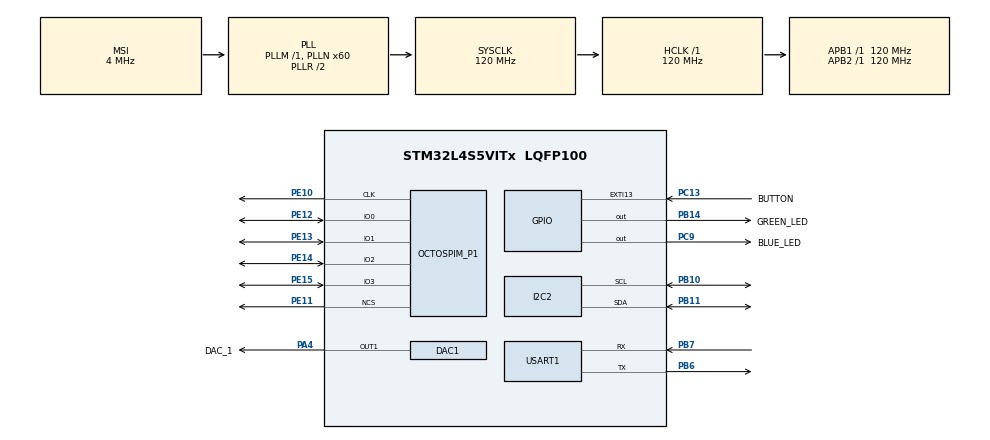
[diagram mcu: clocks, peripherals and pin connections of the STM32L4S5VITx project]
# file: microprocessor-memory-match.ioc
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DAC1.DAC_HighFrequency-DAC_OUT1=DAC_HIGH_FREQUENCY_INTERFACE_MODE_DISABLE
DAC1.DAC_Trigger-DAC_OUT1=DAC_TRIGGER_T6_TRGO
Dma.DAC1_CH1.0.Direction=DMA_MEMORY_TO_PERIPH
Dma.DAC1_CH1.0.EventEnable=DISABLE
Dma.DAC1_CH1.0.Instance=DMA1_Channel1
Dma.DAC1_CH1.0.MemDataAlignment=DMA_MDATAALIGN_HALFWORD
Dma.DAC1_CH1.0.MemInc=DMA_MINC_ENABLE
Dma.DAC1_CH1.0.Mode=DMA_NORMAL
Dma.DAC1_CH1.0.PeriphDataAlignment=DMA_PDATAALIGN_HALFWORD
Dma.DAC1_CH1.0.PeriphInc=DMA_PINC_DISABLE
Dma.DAC1_CH1.0.Polarity=HAL_DMAMUX_REQUEST_GEN_RISING
Dma.DAC1_CH1.0.Priority=DMA_PRIORITY_LOW
Dma.DAC1_CH1.0.RequestNumber=1
Dma.DAC1_CH1.0.SignalID=NONE
Dma.DAC1_CH1.0.SyncEnable=DISABLE
Dma.DAC1_CH1.0.SyncPolarity=HAL_DMAMUX_SYNC_NO_EVENT
Dma.DAC1_CH1.0.SyncRequestNumber=1
Dma.DAC1_CH1.0.SyncSignalID=NONE
Dma.Request0=DAC1_CH1
I2C2.Timing=0x307075B1
Mcu.Family=STM32L4
Mcu.Name=STM32L4S5VITx
Mcu.Package=LQFP100
NVIC.DMA1_Channel1_IRQn=true\:0\:0\:false\:false\:true\:false\:true\:true
NVIC.EXTI15_10_IRQn=true\:0\:0\:false\:false\:true\:true\:true\:true
NVIC.PriorityGroup=NVIC_PRIORITYGROUP_4
NVIC.TIM2_IRQn=true\:0\:0\:false\:false\:true\:true\:true\:true
OCTOSPI1.MemoryType=HAL_OSPI_MEMTYPE_MACRONIX
PA4.GPIO_Label=DAC_1
PA4.Signal=COMP_DAC11_group
PB10.Mode=I2C
PB10.Signal=I2C2_SCL
PB11.Mode=I2C
PB11.Signal=I2C2_SDA
PB14.GPIO_Label=GREEN_LED
PB14.Signal=GPIO_Output
PB6.Mode=Asynchronous
PB6.Signal=USART1_TX
PB7.Mode=Asynchronous
PB7.Signal=USART1_RX
PC13.GPIO_Label=BUTTON
PC13.Signal=GPXTI13
PC9.GPIO_Label=BLUE_LED
PC9.Signal=GPIO_Output
PE10.Mode=O1_P1_CLK
PE10.Signal=OCTOSPIM_P1_CLK
PE11.Mode=OCTOSPI1_Port1_NCS
PE11.Signal=OCTOSPIM_P1_NCS
PE12.Mode=OCTOSPI1_IOL_Port1L
PE12.Signal=OCTOSPIM_P1_IO0
PE13.Mode=OCTOSPI1_IOL_Port1L
PE13.Signal=OCTOSPIM_P1_IO1
PE14.Mode=OCTOSPI1_IOL_Port1L
PE14.Signal=OCTOSPIM_P1_IO2
PE15.Mode=OCTOSPI1_IOL_Port1L
PE15.Signal=OCTOSPIM_P1_IO3
ProjectManager.HeapSize=0x200
ProjectManager.StackSize=0x400
ProjectManager.TargetToolchain=STM32CubeIDE
RCC.ADCFreq_Value=48000000
RCC.AHBFreq_Value=120000000
RCC.APB1Freq_Value=120000000
RCC.APB1TimFreq_Value=120000000
RCC.APB2Freq_Value=120000000
RCC.APB2TimFreq_Value=120000000
RCC.CortexFreq_Value=120000000
RCC.HCLKFreq_Value=120000000
RCC.HSE_VALUE=8000000
RCC.HSI48_VALUE=48000000
RCC.HSI_VALUE=16000000
RCC.LSE_VALUE=32768
RCC.MSI_VALUE=4000000
RCC.PLLN=60
RCC.PLLSAI1N=24
RCC.SYSCLKFreq_VALUE=120000000
RCC.SYSCLKSource=RCC_SYSCLKSOURCE_PLLCLK
RCC.USBFreq_Value=48000000
RCC.VCOOutputFreq_Value=240000000
SH.COMP_DAC11_group.0=DAC1_OUT1,DAC_OUT1
TIM2.Period=10000
TIM2.Prescaler=374
TIM6.Period=7500 - 1
TIM6.TIM_MasterOutputTrigger=TIM_TRGO_UPDATE
USART1.VirtualMode-Asynchronous=VM_ASYNC
VP_OCTOSPI1_VS_quad.Mode=quad_mode
VP_TIM2_VS_ClockSourceINT.Mode=Internal
VP_TIM6_VS_ClockSourceINT.Mode=Enable_Timer
board=B-L4S5I-IOT01A

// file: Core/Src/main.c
/* USER CODE BEGIN Header */
/**
  ******************************************************************************
  * @file           : main.c
  * @brief          : Main program body
  ******************************************************************************
  * @attention
  *
  * Copyright (c) 2023 STMicroelectronics.
  * All rights reserved.
  *
  * This software is licensed under terms that can be found in the LICENSE file
  * in the root directory of this software component.
  * If no LICENSE file comes with this software, it is provided AS-IS.
  *
  ******************************************************************************
  */
/* USER CODE END Header */
#include "config.h"
#include "main.h"

/* USER CODE BEGIN Includes */
#include <stdbool.h>
#include <string.h>
#include <stdio.h>

#include "stm32l4s5i_iot01_qspi.h"

#include "accelerow.h"
#include "sound.h"
// Voice lines
#ifndef COMPRESSED
#include "welcome.h"
#include "instructions.h"
#include "player_turn.h"
#include "win.h"
#include "loss.h"
#include "start.h"
#include "try_again.h"
#include "calibrating.h"
#else
#include "welcome_compressed.h"
#include "instructions_compressed.h"
#include "player_turn_compressed.h"
#include "win_compressed.h"
#include "loss_compressed.h"
#include "start_compressed.h"
#include "try_again_compressed.h"
#include "calibrating_compressed.h"
#endif
/* USER CODE END Includes */

/* USER CODE BEGIN PM */
#define HIGHSCORE_ADDRESS 0x00
#define NUMBER_OF_SCORES 10
#define STARTING_LEVEL 2
/* USER CODE END PM */

DAC_HandleTypeDef hdac1;
DMA_HandleTypeDef hdma_dac1_ch1;

I2C_HandleTypeDef hi2c2;

OSPI_HandleTypeDef hospi1;

TIM_HandleTypeDef htim2;
TIM_HandleTypeDef htim6;

UART_HandleTypeDef huart1;

/* USER CODE BEGIN PV */
bool button_pressed = false;
uint8_t difficulty_level = STARTING_LEVEL;
uint32_t last_press = 0;
/* USER CODE END PV */

void SystemClock_Config(void);
static void MX_GPIO_Init(void);
static void MX_DMA_Init(void);
static void MX_I2C2_Init(void);
static void MX_OCTOSPI1_Init(void);
static void MX_USART1_UART_Init(void);
static void MX_TIM2_Init(void);
static void MX_DAC1_Init(void);
static void MX_TIM6_Init(void);
/* USER CODE BEGIN PFP */
enum BoardPosition duringGame();
/* USER CODE END PFP */

/* USER CODE BEGIN 0 */
#ifdef DEMO_ACCELEROW
enum BoardPosition
{
  DOUBLE_UP,
  BOARD_UP,
  BOARD_CENTER,
  BOARD_DOWN,
  DOUBLE_DOWN
};

enum BoardPosition update_position(enum BoardPosition previous_position,
    enum Direction direction)
{
  if (previous_position == BOARD_DOWN && direction == ACCELEROW_DOWN) return BOARD_DOWN;
  if (previous_position == BOARD_DOWN && direction == ACCELEROW_UP) return BOARD_CENTER;
  if (previous_position == BOARD_CENTER && direction == ACCELEROW_DOWN) return BOARD_DOWN;
  if (previous_position == BOARD_CENTER && direction == ACCELEROW_UP) return BOARD_UP;
  if (previous_position == BOARD_UP && direction == ACCELEROW_DOWN) return BOARD_CENTER;
  if (previous_position == BOARD_UP && direction == ACCELEROW_UP) return BOARD_UP;
  // Should never happen
  return BOARD_CENTER;
}

void demo_accelerow()
{
  // Turn LEDs on to indicate initialization is occurring
  HAL_GPIO_WritePin(GREEN_LED_GPIO_Port, GREEN_LED_Pin, GPIO_PIN_SET);
  HAL_GPIO_WritePin(BLUE_LED_GPIO_Port, BLUE_LED_Pin, GPIO_PIN_RESET);

  accelerow_init(&htim2, &huart1, Error_Handler);
  accelerow_calibrate();
  enum Direction direction;
  enum BoardPosition position = BOARD_CENTER;

  // Done initialization and calibration
  HAL_GPIO_WritePin(GREEN_LED_GPIO_Port, GREEN_LED_Pin, GPIO_PIN_RESET);
  HAL_GPIO_WritePin(BLUE_LED_GPIO_Port, BLUE_LED_Pin, GPIO_PIN_SET);

  while (1)
  {
    direction = accelerow_wait_for_move();
    position = update_position(position, direction);
    HAL_GPIO_WritePin(GREEN_LED_GPIO_Port, GREEN_LED_Pin, position == BOARD_UP ? GPIO_PIN_SET : GPIO_PIN_RESET);
    // The blue LED lights up for GPIO_PIN_RESET
    HAL_GPIO_WritePin(BLUE_LED_GPIO_Port, BLUE_LED_Pin, position == BOARD_DOWN ? GPIO_PIN_RESET : GPIO_PIN_SET);
  }
}
#endif

#ifdef DEMO_SOUND
// Plays a scale
void demo_sound()
{
  sound_init(&hdac1, &htim6, 16000);

  float scale[] = {C6_FREQUENCY, D6_FREQUENCY, E6_FREQUENCY, F6_FREQUENCY, G6_FREQUENCY, A6_FREQUENCY, B6_FREQUENCY, C7_FREQUENCY};
  size_t scale_length = sizeof(scale) / sizeof(float);

  for (size_t i = 0; i < scale_length; i++)
  {
    play_pure_tone(scale[i], 0.3);
    wait_for_sound_to_finish();
  }

  play_recording(welcome_data, sizeof(welcome_data) / sizeof(welcome_data[0]));
  wait_for_sound_to_finish();
}
#endif

size_t min(size_t a, size_t b)
{
  return a < b ? a : b;
}

uint32_t seed = 427986U;

uint32_t random_uint()
{
  seed ^= seed << 13;
  seed ^= seed >> 17;
  seed ^= seed << 5;
  return seed;
}

uint8_t add_high_score(uint8_t score)
{
  uint8_t high_score_list[NUMBER_OF_SCORES] = { 0 };
  if(BSP_QSPI_Read(high_score_list, HIGHSCORE_ADDRESS, NUMBER_OF_SCORES * sizeof(uint8_t))!=QSPI_OK) Error_Handler();

  //insert score
  int i = 0;
  bool new_score_set = false;
  for (i = 0; i < NUMBER_OF_SCORES; i++)
  {
    if (score >= high_score_list[i])
    {
      for(int j = NUMBER_OF_SCORES - 1; j > i; j--)
      {
        high_score_list[j] = high_score_list[j-1];
      }
      high_score_list[i] = score;
      new_score_set = true;
      break;
    }
  }
  if (new_score_set)
  {
    if(BSP_QSPI_Erase_Block(HIGHSCORE_ADDRESS)!= QSPI_OK) Error_Handler();
    if(BSP_QSPI_Write(high_score_list, HIGHSCORE_ADDRESS, NUMBER_OF_SCORES * sizeof(uint8_t))!=QSPI_OK) Error_Handler();
  }
  return new_score_set ? i:NUMBER_OF_SCORES;
}

// Plays a random sequence of intervals, and fills in the sequence of directions in which the board
// should be moved to win.
void get_random_sequence(enum Direction directions[])
{
  float tones[] = {C6_FREQUENCY, D6_FREQUENCY, E6_FREQUENCY, F6_FREQUENCY, G6_FREQUENCY, A6_FREQUENCY, B6_FREQUENCY, C7_FREQUENCY};
  for (int i = 0; i < difficulty_level; i++)
  {
    // Pick a first tone from E6 to A6
    int first_tone_index = 2 + (random_uint() % 4);
    float first_tone = tones[first_tone_index];
    // Pick a random interval from -2, -1, 1, and 2
    int interval = (random_uint() % 4);
    if (interval < 2)
    {
      interval -= 2;
    }
    else
    {
      interval -= 1;
    }
    float second_tone = tones[first_tone_index + interval];
    // Play the interval
    play_pure_tone(first_tone, 1);
    wait_for_sound_to_finish();
    play_pure_tone(second_tone, 1);
    wait_for_sound_to_finish();
    // Record the correct direction
    if (interval > 0)
    {
      directions[i] = ACCELEROW_UP;
    }
    else
    {
      directions[i] = ACCELEROW_DOWN;
    }
    // Wait before playing next interval
    HAL_Delay(500);
  }
}

void play_correct_sound()
{
  play_pure_tone(B6_FREQUENCY, 0.1);
  wait_for_sound_to_finish();
  play_pure_tone(G6_FREQUENCY, 0.3);
  wait_for_sound_to_finish();
}

void play_wrong_sound()
{
  play_pure_tone(C6_FREQUENCY, 0.1);
  wait_for_sound_to_finish();
  HAL_Delay(100);
  play_pure_tone(C6_FREQUENCY, 0.3);
  wait_for_sound_to_finish();
}

/**
 * Basic print function
 */
void print_to_uart(UART_HandleTypeDef *huart, char buffer[])
{
  HAL_UART_Transmit(&huart1, (uint8_t*) buffer, strlen(buffer), 5000);
}

bool players_turn(enum Direction expected_directions[], enum Direction actual_directions[])
{
  print_to_uart(&huart1, "NOW MOVE! \r\n");
  bool made_a_mistake = false;
  for (int i = 0; i < difficulty_level; i++)
  {
    actual_directions[i] = accelerow_wait_for_move();
    if (actual_directions[i] == expected_directions[i])
    {
      play_correct_sound();
    }
    else
    {
      play_wrong_sound();
      made_a_mistake = true;
    }
  }
  return made_a_mistake;
}

// Inserts the given directions into the given string. The string must have space for at least len + 1 characters,
// including the null terminator.
void copy_sequence_into_str(enum Direction directions[], char *message, size_t len)
{
  for (int i = 0; i < len; i++)
  {
    message[i] = (directions[i] == ACCELEROW_UP) ? 'U' : 'D';
  }
  message[len] = '\0';
}

void print_diff(enum Direction expected[], enum Direction actual[], size_t len)
{
  char expected_sequence_msg[1024] = "Output: ";
  // Avoid buffer overflow by just clipping the length. 1024 notes should be more than high enough. Subtract 3 to leave
  // space for the trailing \r\n\0
  copy_sequence_into_str(expected, expected_sequence_msg + 8, min(len, 1024 - strlen(expected_sequence_msg) - 3));
  size_t current_len = strlen(expected_sequence_msg);
  expected_sequence_msg[current_len] = '\r';
  expected_sequence_msg[current_len+1] = '\n';
  expected_sequence_msg[current_len+2] = '\0';
  print_to_uart(&huart1, expected_sequence_msg);

  char actual_sequence_msg[1024] = " Input: ";
  copy_sequence_into_str(actual, actual_sequence_msg + 8, min(len, 1024 - strlen(actual_sequence_msg) - 3));
  current_len = strlen(actual_sequence_msg);
  actual_sequence_msg[current_len] = '\r';
  actual_sequence_msg[current_len+1] = '\n';
  actual_sequence_msg[current_len+2] = '\0';
  print_to_uart(&huart1, actual_sequence_msg);
}

void clear_scores()
{

  uint8_t high_score_list[NUMBER_OF_SCORES] = { 0 };
  if(BSP_QSPI_Erase_Block(HIGHSCORE_ADDRESS)!= QSPI_OK) Error_Handler();
  if(BSP_QSPI_Write(high_score_list, HIGHSCORE_ADDRESS, NUMBER_OF_SCORES*sizeof(uint8_t))!=QSPI_OK) Error_Handler();
  print_to_uart(&huart1, "High Scores Cleared!\r\n");
}
/**
 * Callback function for when the button has been pressed
 */
void HAL_GPIO_EXTI_Callback (uint16_t GPIO_Pin)
{
  if (GPIO_Pin == BUTTON_Pin)
  {
    uint32_t press_time = HAL_GetTick();
    uint32_t time_diff = press_time-last_press;
    if (0 < time_diff && time_diff < 500)
    {
      clear_scores();
    }
    else
    {
      button_pressed = true;
    }
    last_press = press_time;

  }
}
/* USER CODE END 0 */

int main(void)
{

  /* MCU Configuration--------------------------------------------------------*/

  /* Reset of all peripherals, Initializes the Flash interface and the Systick. */
  HAL_Init();

  /* Configure the system clock */
  SystemClock_Config();

  /* Initialize all configured peripherals */
  MX_GPIO_Init();
  MX_DMA_Init();
  MX_I2C2_Init();
  MX_OCTOSPI1_Init();
  MX_USART1_UART_Init();
  MX_TIM2_Init();
  MX_DAC1_Init();
  MX_TIM6_Init();
  /* USER CODE BEGIN 2 */

#ifdef DEMO_ACCELEROW
  demo_accelerow();
#elif defined(DEMO_SOUND)
  demo_sound();
#else
  sound_init(&hdac1, &htim6, 16000);
  accelerow_init(&htim2, &huart1, Error_Handler);
  if (BSP_QSPI_Init() != QSPI_OK) Error_Handler();
  float startUpTone[] = {C6_FREQUENCY, E6_FREQUENCY, G6_FREQUENCY, E6_FREQUENCY, C6_FREQUENCY};
  for (size_t i = 0; i < 4; i++)
  {
    play_pure_tone(startUpTone[i], 0.3);
    wait_for_sound_to_finish();
  }
  play_pure_tone(startUpTone[4], 0.6);
  wait_for_sound_to_finish();

  play_recording(welcome_data, sizeof(welcome_data) / sizeof(welcome_data[0]));
  print_to_uart(&huart1, "Welcome to the Marvelous Microprocessor Memory Match!\r\n");
  wait_for_sound_to_finish();

  play_recording(instructions_data, sizeof(instructions_data) / sizeof(instructions_data[0]));
  print_to_uart(&huart1, "A sequence of intervals will play. When instructed, move the board up for each interval that was increasing in pitch and down for each interval that was decreasing in pitch.\r\n");
  wait_for_sound_to_finish();

  play_recording(start_data, sizeof(start_data) / sizeof(start_data[0]));
  print_to_uart(&huart1, "Press the blue button to start.\r\n");
  wait_for_sound_to_finish();

  print_to_uart(&huart1, "Double-click the blue button to clear scores.\r\n");

  while (true)
  {
    // Wait for the player to be ready
    if(!button_pressed) continue;

    play_recording(calibrating_data, sizeof(calibrating_data) / sizeof(calibrating_data[0]));
    print_to_uart(&huart1, "Get ready, calibrating...\r\n");
    wait_for_sound_to_finish();

    // Turn blue LED on to show we're calibrating. RESET means on for this LED.
    HAL_GPIO_WritePin(BLUE_LED_GPIO_Port, BLUE_LED_Pin, GPIO_PIN_RESET);
    accelerow_calibrate();
    HAL_GPIO_WritePin(BLUE_LED_GPIO_Port, BLUE_LED_Pin, GPIO_PIN_SET);

    enum Direction expected_directions[difficulty_level];
    enum Direction actual_directions[difficulty_level];
    get_random_sequence(expected_directions);

    play_recording(player_turn_data, sizeof(player_turn_data) / sizeof(player_turn_data[0]));
    print_to_uart(&huart1, "Your turn!\r\n");
    wait_for_sound_to_finish();

    bool made_a_mistake = players_turn(expected_directions, actual_directions);

    if (made_a_mistake)
    {
      play_recording(loss_data, sizeof(loss_data) / sizeof(loss_data[0]));
      print_to_uart(&huart1, "You lose...\r\n");
      wait_for_sound_to_finish();
      print_diff(expected_directions, actual_directions, difficulty_level);

      uint8_t score = difficulty_level - 1;
      uint8_t score_position;
      if (difficulty_level == STARTING_LEVEL)
      {
        score_position = NUMBER_OF_SCORES;
      }
      else
      {
        score_position = add_high_score(score);
      }

      uint8_t high_score_list[NUMBER_OF_SCORES] = { 0 };
      if (BSP_QSPI_Read(high_score_list, HIGHSCORE_ADDRESS, NUMBER_OF_SCORES * sizeof(uint8_t)) != QSPI_OK) Error_Handler();
      print_to_uart(&huart1, "High Scores:\r\n");
      char message[64] = "";
      for(int i = 0; i < NUMBER_OF_SCORES; i++){
        if (i == score_position)
        {
          snprintf(message, 64, "%d: %d <- Your Score! \n\r", i + 1, high_score_list[i]);
          print_to_uart(&huart1, message);
        }
        else if (high_score_list[i] == 0)
        {
          break;
        }
        else
        {
          snprintf(message, 64, "%d: %d \n\r", i + 1, high_score_list[i]);
          print_to_uart(&huart1, message);
        }
      }

      difficulty_level = STARTING_LEVEL;
    }
    else
    {
      play_recording(win_data, sizeof(win_data) / sizeof(win_data[0]));
      print_to_uart(&huart1, "You win!\r\n");
      wait_for_sound_to_finish();
      difficulty_level++;
    }

    play_recording(try_again_data, sizeof(try_again_data) / sizeof(try_again_data[0]));
    print_to_uart(&huart1, "Press the blue button to try again\r\n");
    wait_for_sound_to_finish();

    button_pressed = false;

  }
#endif
  /* USER CODE END 2 */

  /* Infinite loop */
  while (1)
  {

  }
}

void SystemClock_Config(void)
{
  RCC_OscInitTypeDef RCC_OscInitStruct = {0};
  RCC_ClkInitTypeDef RCC_ClkInitStruct = {0};

  /** Configure the main internal regulator output voltage
  */
  if (HAL_PWREx_ControlVoltageScaling(PWR_REGULATOR_VOLTAGE_SCALE1_BOOST) != HAL_OK)
  {
    Error_Handler();
  }

  /** Initializes the RCC Oscillators according to the specified parameters
  * in the RCC_OscInitTypeDef structure.
  */
  RCC_OscInitStruct.OscillatorType = RCC_OSCILLATORTYPE_MSI;
  RCC_OscInitStruct.MSIState = RCC_MSI_ON;
  RCC_OscInitStruct.MSICalibrationValue = 0;
  RCC_OscInitStruct.MSIClockRange = RCC_MSIRANGE_6;
  RCC_OscInitStruct.PLL.PLLState = RCC_PLL_ON;
  RCC_OscInitStruct.PLL.PLLSource = RCC_PLLSOURCE_MSI;
  RCC_OscInitStruct.PLL.PLLM = 1;
  RCC_OscInitStruct.PLL.PLLN = 60;
  RCC_OscInitStruct.PLL.PLLP = RCC_PLLP_DIV2;
  RCC_OscInitStruct.PLL.PLLQ = RCC_PLLQ_DIV2;
  RCC_OscInitStruct.PLL.PLLR = RCC_PLLR_DIV2;
  if (HAL_RCC_OscConfig(&RCC_OscInitStruct) != HAL_OK)
  {
    Error_Handler();
  }

  /** Initializes the CPU, AHB and APB buses clocks
  */
  RCC_ClkInitStruct.ClockType = RCC_CLOCKTYPE_HCLK|RCC_CLOCKTYPE_SYSCLK
                              |RCC_CLOCKTYPE_PCLK1|RCC_CLOCKTYPE_PCLK2;
  RCC_ClkInitStruct.SYSCLKSource = RCC_SYSCLKSOURCE_PLLCLK;
  RCC_ClkInitStruct.AHBCLKDivider = RCC_SYSCLK_DIV1;
  RCC_ClkInitStruct.APB1CLKDivider = RCC_HCLK_DIV1;
  RCC_ClkInitStruct.APB2CLKDivider = RCC_HCLK_DIV1;

  if (HAL_RCC_ClockConfig(&RCC_ClkInitStruct, FLASH_LATENCY_5) != HAL_OK)
  {
    Error_Handler();
  }
}

static void MX_DAC1_Init(void)
{

  DAC_ChannelConfTypeDef sConfig = {0};

  /** DAC Initialization
  */
  hdac1.Instance = DAC1;
  if (HAL_DAC_Init(&hdac1) != HAL_OK)
  {
    Error_Handler();
  }

  /** DAC channel OUT1 config
  */
  sConfig.DAC_SampleAndHold = DAC_SAMPLEANDHOLD_DISABLE;
  sConfig.DAC_Trigger = DAC_TRIGGER_T6_TRGO;
  sConfig.DAC_HighFrequency = DAC_HIGH_FREQUENCY_INTERFACE_MODE_DISABLE;
  sConfig.DAC_OutputBuffer = DAC_OUTPUTBUFFER_ENABLE;
  sConfig.DAC_ConnectOnChipPeripheral = DAC_CHIPCONNECT_DISABLE;
  sConfig.DAC_UserTrimming = DAC_TRIMMING_FACTORY;
  if (HAL_DAC_ConfigChannel(&hdac1, &sConfig, DAC_CHANNEL_1) != HAL_OK)
  {
    Error_Handler();
  }

}

static void MX_I2C2_Init(void)
{

  hi2c2.Instance = I2C2;
  hi2c2.Init.Timing = 0x307075B1;
  hi2c2.Init.OwnAddress1 = 0;
  hi2c2.Init.AddressingMode = I2C_ADDRESSINGMODE_7BIT;
  hi2c2.Init.DualAddressMode = I2C_DUALADDRESS_DISABLE;
  hi2c2.Init.OwnAddress2 = 0;
  hi2c2.Init.OwnAddress2Masks = I2C_OA2_NOMASK;
  hi2c2.Init.GeneralCallMode = I2C_GENERALCALL_DISABLE;
  hi2c2.Init.NoStretchMode = I2C_NOSTRETCH_DISABLE;
  if (HAL_I2C_Init(&hi2c2) != HAL_OK)
  {
    Error_Handler();
  }

  /** Configure Analogue filter
  */
  if (HAL_I2CEx_ConfigAnalogFilter(&hi2c2, I2C_ANALOGFILTER_ENABLE) != HAL_OK)
  {
    Error_Handler();
  }

  /** Configure Digital filter
  */
  if (HAL_I2CEx_ConfigDigitalFilter(&hi2c2, 0) != HAL_OK)
  {
    Error_Handler();
  }

}

static void MX_OCTOSPI1_Init(void)
{

  OSPIM_CfgTypeDef OSPIM_Cfg_Struct = {0};

  /* OCTOSPI1 parameter configuration*/
  hospi1.Instance = OCTOSPI1;
  hospi1.Init.FifoThreshold = 1;
  hospi1.Init.DualQuad = HAL_OSPI_DUALQUAD_DISABLE;
  hospi1.Init.MemoryType = HAL_OSPI_MEMTYPE_MACRONIX;
  hospi1.Init.DeviceSize = 32;
  hospi1.Init.ChipSelectHighTime = 1;
  hospi1.Init.FreeRunningClock = HAL_OSPI_FREERUNCLK_DISABLE;
  hospi1.Init.ClockMode = HAL_OSPI_CLOCK_MODE_0;
  hospi1.Init.ClockPrescaler = 1;
  hospi1.Init.SampleShifting = HAL_OSPI_SAMPLE_SHIFTING_NONE;
  hospi1.Init.DelayHoldQuarterCycle = HAL_OSPI_DHQC_DISABLE;
  hospi1.Init.ChipSelectBoundary = 0;
  hospi1.Init.DelayBlockBypass = HAL_OSPI_DELAY_BLOCK_BYPASSED;
  if (HAL_OSPI_Init(&hospi1) != HAL_OK)
  {
    Error_Handler();
  }
  OSPIM_Cfg_Struct.ClkPort = 1;
  OSPIM_Cfg_Struct.NCSPort = 1;
  OSPIM_Cfg_Struct.IOLowPort = HAL_OSPIM_IOPORT_1_LOW;
  if (HAL_OSPIM_Config(&hospi1, &OSPIM_Cfg_Struct, HAL_OSPI_TIMEOUT_DEFAULT_VALUE) != HAL_OK)
  {
    Error_Handler();
  }

}

static void MX_TIM2_Init(void)
{

  TIM_ClockConfigTypeDef sClockSourceConfig = {0};
  TIM_MasterConfigTypeDef sMasterConfig = {0};

  htim2.Instance = TIM2;
  htim2.Init.Prescaler = 374;
  htim2.Init.CounterMode = TIM_COUNTERMODE_UP;
  htim2.Init.Period = 10000;
  htim2.Init.ClockDivision = TIM_CLOCKDIVISION_DIV1;
  htim2.Init.AutoReloadPreload = TIM_AUTORELOAD_PRELOAD_DISABLE;
  if (HAL_TIM_Base_Init(&htim2) != HAL_OK)
  {
    Error_Handler();
  }
  sClockSourceConfig.ClockSource = TIM_CLOCKSOURCE_INTERNAL;
  if (HAL_TIM_ConfigClockSource(&htim2, &sClockSourceConfig) != HAL_OK)
  {
    Error_Handler();
  }
  sMasterConfig.MasterOutputTrigger = TIM_TRGO_RESET;
  sMasterConfig.MasterSlaveMode = TIM_MASTERSLAVEMODE_DISABLE;
  if (HAL_TIMEx_MasterConfigSynchronization(&htim2, &sMasterConfig) != HAL_OK)
  {
    Error_Handler();
  }

}

static void MX_TIM6_Init(void)
{

  TIM_MasterConfigTypeDef sMasterConfig = {0};

  htim6.Instance = TIM6;
  htim6.Init.Prescaler = 0;
  htim6.Init.CounterMode = TIM_COUNTERMODE_UP;
  htim6.Init.Period = 7500 - 1;
  htim6.Init.AutoReloadPreload = TIM_AUTORELOAD_PRELOAD_DISABLE;
  if (HAL_TIM_Base_Init(&htim6) != HAL_OK)
  {
    Error_Handler();
  }
  sMasterConfig.MasterOutputTrigger = TIM_TRGO_UPDATE;
  sMasterConfig.MasterSlaveMode = TIM_MASTERSLAVEMODE_DISABLE;
  if (HAL_TIMEx_MasterConfigSynchronization(&htim6, &sMasterConfig) != HAL_OK)
  {
    Error_Handler();
  }

}

static void MX_USART1_UART_Init(void)
{

  huart1.Instance = USART1;
  huart1.Init.BaudRate = 115200;
  huart1.Init.WordLength = UART_WORDLENGTH_8B;
  huart1.Init.StopBits = UART_STOPBITS_1;
  huart1.Init.Parity = UART_PARITY_NONE;
  huart1.Init.Mode = UART_MODE_TX_RX;
  huart1.Init.HwFlowCtl = UART_HWCONTROL_NONE;
  huart1.Init.OverSampling = UART_OVERSAMPLING_16;
  huart1.Init.OneBitSampling = UART_ONE_BIT_SAMPLE_DISABLE;
  huart1.Init.ClockPrescaler = UART_PRESCALER_DIV1;
  huart1.AdvancedInit.AdvFeatureInit = UART_ADVFEATURE_NO_INIT;
  if (HAL_UART_Init(&huart1) != HAL_OK)
  {
    Error_Handler();
  }
  if (HAL_UARTEx_SetTxFifoThreshold(&huart1, UART_TXFIFO_THRESHOLD_1_8) != HAL_OK)
  {
    Error_Handler();
  }
  if (HAL_UARTEx_SetRxFifoThreshold(&huart1, UART_RXFIFO_THRESHOLD_1_8) != HAL_OK)
  {
    Error_Handler();
  }
  if (HAL_UARTEx_DisableFifoMode(&huart1) != HAL_OK)
  {
    Error_Handler();
  }

}

static void MX_DMA_Init(void)
{

  /* DMA controller clock enable */
  __HAL_RCC_DMAMUX1_CLK_ENABLE();
  __HAL_RCC_DMA1_CLK_ENABLE();

  /* DMA interrupt init */
  /* DMA1_Channel1_IRQn interrupt configuration */
  HAL_NVIC_SetPriority(DMA1_Channel1_IRQn, 0, 0);
  HAL_NVIC_EnableIRQ(DMA1_Channel1_IRQn);

}

static void MX_GPIO_Init(void)
{
  GPIO_InitTypeDef GPIO_InitStruct = {0};

  /* GPIO Ports Clock Enable */
  __HAL_RCC_GPIOC_CLK_ENABLE();
  __HAL_RCC_GPIOA_CLK_ENABLE();
  __HAL_RCC_GPIOE_CLK_ENABLE();
  __HAL_RCC_GPIOB_CLK_ENABLE();

  /*Configure GPIO pin Output Level */
  HAL_GPIO_WritePin(GREEN_LED_GPIO_Port, GREEN_LED_Pin, GPIO_PIN_RESET);

  /*Configure GPIO pin Output Level */
  HAL_GPIO_WritePin(BLUE_LED_GPIO_Port, BLUE_LED_Pin, GPIO_PIN_RESET);

  /*Configure GPIO pin : BUTTON_Pin */
  GPIO_InitStruct.Pin = BUTTON_Pin;
  GPIO_InitStruct.Mode = GPIO_MODE_IT_RISING;
  GPIO_InitStruct.Pull = GPIO_NOPULL;
  HAL_GPIO_Init(BUTTON_GPIO_Port, &GPIO_InitStruct);

  /*Configure GPIO pin : GREEN_LED_Pin */
  GPIO_InitStruct.Pin = GREEN_LED_Pin;
  GPIO_InitStruct.Mode = GPIO_MODE_OUTPUT_PP;
  GPIO_InitStruct.Pull = GPIO_NOPULL;
  GPIO_InitStruct.Speed = GPIO_SPEED_FREQ_LOW;
  HAL_GPIO_Init(GREEN_LED_GPIO_Port, &GPIO_InitStruct);

  /*Configure GPIO pin : BLUE_LED_Pin */
  GPIO_InitStruct.Pin = BLUE_LED_Pin;
  GPIO_InitStruct.Mode = GPIO_MODE_OUTPUT_PP;
  GPIO_InitStruct.Pull = GPIO_NOPULL;
  GPIO_InitStruct.Speed = GPIO_SPEED_FREQ_LOW;
  HAL_GPIO_Init(BLUE_LED_GPIO_Port, &GPIO_InitStruct);

  /* EXTI interrupt init*/
  HAL_NVIC_SetPriority(EXTI15_10_IRQn, 0, 0);
  HAL_NVIC_EnableIRQ(EXTI15_10_IRQn);

}

void Error_Handler(void)
{
  __disable_irq();
  while (1)
  {
  }
}
